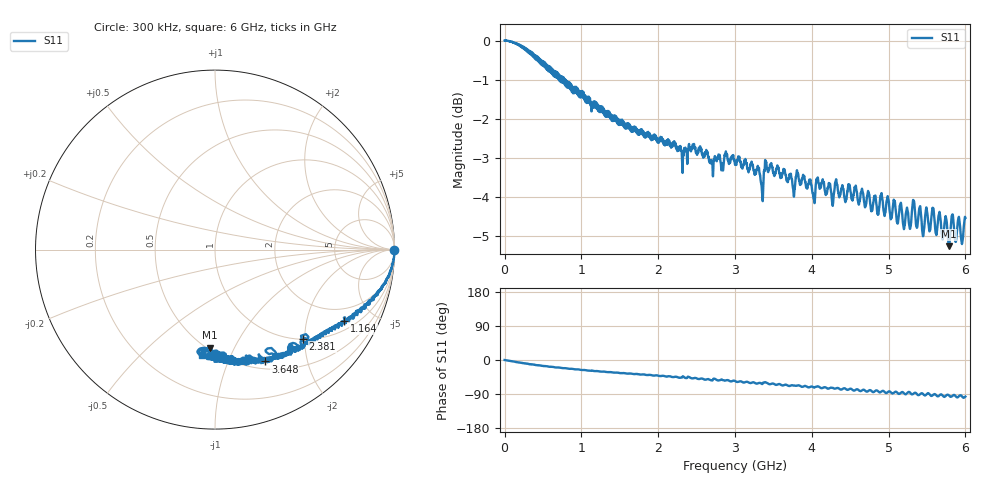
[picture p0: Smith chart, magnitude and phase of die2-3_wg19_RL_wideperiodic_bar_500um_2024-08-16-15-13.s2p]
!Keysight Technologies,P9374A,MY57304198,A.17.20.09
!Date: Friday, August 16, 2024 15:13:47
!Correction: S11(C  1-Port  )
!S21(C  1-Port  )
!S12(Off)
!S22(Off)
!S2P File: Measurements: S11, S21, S12, S22:
# Hz S  dB  R 50
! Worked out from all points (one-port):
!   6000 points, 300 kHz to 6 GHz, reference 50 ohm
!   lowest |S11| = -5.2 dB at 5.783 GHz (marker M1), VSWR 3.41, Z = 25.9 - j40.3 ohm
!   |S11| at or under -10 dB: nowhere
!   S11 on the Smith chart (normalised r, x): 300 kHz: open; 1.164 GHz: 1.35, -3.35; 2.381 GHz: 1.01, -1.96; 3.648 GHz: 0.59, -1.38; 6 GHz: 0.44, -0.79
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300000  -0.00 -0.0  -200.00 45.0  -200.00 45.0  -200.00 45.0
4.133482e8  -0.40 -13.2  -200.00 45.0  -200.00 45.0  -200.00 45.0
1.000417e9  -1.41 -26.3  -200.00 45.0  -200.00 45.0  -200.00 45.0
1.164436e9  -1.69 -29.0  -200.00 45.0  -200.00 45.0  -200.00 45.0
2.000533e9  -2.56 -41.5  -200.00 45.0  -200.00 45.0  -200.00 45.0
2.380578e9  -3.13 -45.4  -200.00 45.0  -200.00 45.0  -200.00 45.0
2.686613e9  -3.10 -53.4  -200.00 45.0  -200.00 45.0  -200.00 45.0
2.74462e9  -3.02 -50.2  -200.00 45.0  -200.00 45.0  -200.00 45.0
3.00065e9  -3.16 -55.3  -200.00 45.0  -200.00 45.0  -200.00 45.0
3.290684e9  -3.27 -62.1  -200.00 45.0  -200.00 45.0  -200.00 45.0
3.337689e9  -3.62 -61.5  -200.00 45.0  -200.00 45.0  -200.00 45.0
3.399697e9  -3.08 -59.0  -200.00 45.0  -200.00 45.0  -200.00 45.0
3.647726e9  -3.30 -65.7  -200.00 45.0  -200.00 45.0  -200.00 45.0
4.000767e9  -3.76 -69.9  -200.00 45.0  -200.00 45.0  -200.00 45.0
5.000883e9  -4.09 -83.2  -200.00 45.0  -200.00 45.0  -200.00 45.0
5.217909e9  -4.57 -90.4  -200.00 45.0  -200.00 45.0  -200.00 45.0
5.265914e9  -4.68 -84.2  -200.00 45.0  -200.00 45.0  -200.00 45.0
5.389929e9  -4.46 -92.8  -200.00 45.0  -200.00 45.0  -200.00 45.0
5.514943e9  -4.62 -87.3  -200.00 45.0  -200.00 45.0  -200.00 45.0
5.640958e9  -4.67 -96.1  -200.00 45.0  -200.00 45.0  -200.00 45.0
5.782975e9  -5.25 -92.8  -200.00 45.0  -200.00 45.0  -200.00 45.0
6e9  -4.53 -96.6  -200.00 45.0  -200.00 45.0  -200.00 45.0
